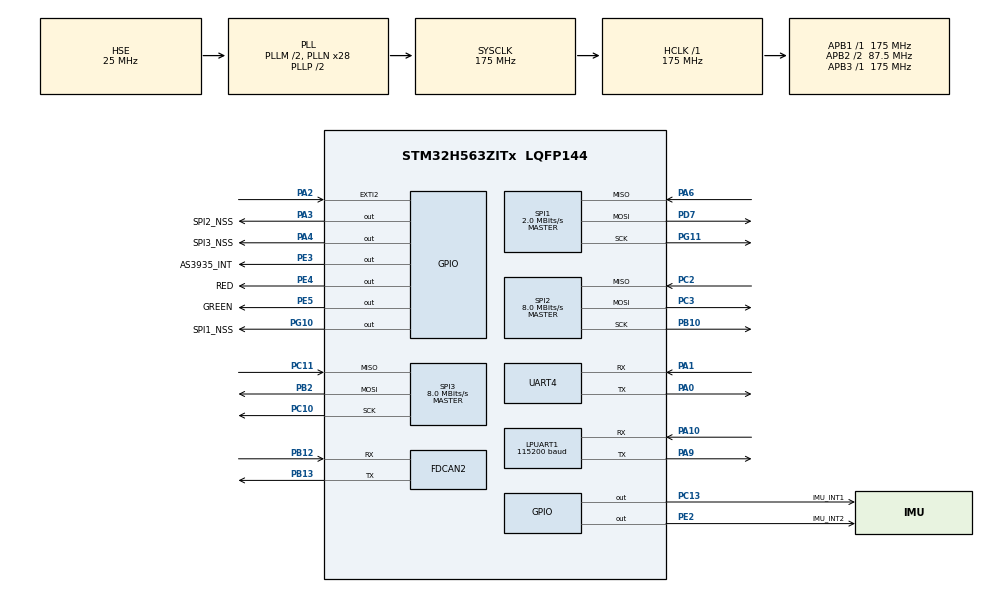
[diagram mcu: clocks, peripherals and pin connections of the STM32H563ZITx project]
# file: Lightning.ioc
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BOOTPATH.BootPathName=LEGACY
BOOTPATH.UserSelectedBootPath=LEGACY
CORTEX_M33_NS.userName=CORTEX_M33
FDCAN2.CalculateBaudRateNominal=500000
FDCAN2.CalculateTimeBitNominal=2000
FDCAN2.CalculateTimeQuantumNominal=125.0
FDCAN2.ExtFiltersNbr=2
FDCAN2.NominalPrescaler=8
FDCAN2.NominalTimeSeg1=11
FDCAN2.NominalTimeSeg2=4
FDCAN2.StdFiltersNbr=4
IWDG.Prescaler=IWDG_PRESCALER_32
LPUART1.BaudRate=115200
LPUART1.DataInvertParam=UART_ADVFEATURE_DATAINV_DISABLE
LPUART1.SwapParam=UART_ADVFEATURE_SWAP_ENABLE
Mcu.Family=STM32H5
Mcu.Name=STM32H563ZITx
Mcu.Package=LQFP144
NETXDUO.NX_APP_MEM_POOL_SIZE=10240
NVIC.FDCAN2_IT0_IRQn=true\:0\:0\:false\:false\:true\:false\:true\:true\:true
NVIC.FDCAN2_IT1_IRQn=true\:0\:0\:false\:false\:true\:false\:true\:true\:true
NVIC.PriorityGroup=NVIC_PRIORITYGROUP_4
NVIC.TIM2_IRQn=true\:15\:0\:false\:false\:true\:false\:false\:true\:true
NVIC.TimeBase=TIM2_IRQn
NVIC.TimeBaseIP=TIM2
PA0.Mode=Asynchronous
PA0.Signal=UART4_TX
PA1.Mode=Asynchronous
PA1.Signal=UART4_RX
PA10.Mode=Asynchronous
PA10.Signal=LPUART1_RX
PA13(JTMS/SWDIO).Mode=JTAG_4_pins
PA13(JTMS/SWDIO).Signal=DEBUG_JTMS-SWDIO
PA14(JTCK/SWCLK).Mode=JTAG_4_pins
PA14(JTCK/SWCLK).Signal=DEBUG_JTCK-SWCLK
PA15(JTDI).Mode=JTAG_4_pins
PA15(JTDI).Signal=DEBUG_JTDI
PA2.Signal=GPXTI2
PA3.GPIO_Label=SPI2_NSS
PA3.Signal=GPIO_Output
PA4.GPIO_Label=SPI3_NSS
PA4.Signal=GPIO_Output
PA6.Mode=Full_Duplex_Master
PA6.Signal=SPI1_MISO
PA9.Mode=Asynchronous
PA9.Signal=LPUART1_TX
PB10.Mode=Full_Duplex_Master
PB10.Signal=SPI2_SCK
PB12.Mode=FDCAN_Activate
PB12.Signal=FDCAN2_RX
PB13.Mode=FDCAN_Activate
PB13.Signal=FDCAN2_TX
PB2.Mode=Full_Duplex_Master
PB2.Signal=SPI3_MOSI
PB3(JTDO/TRACESWO).Mode=JTAG_4_pins
PB3(JTDO/TRACESWO).Signal=DEBUG_JTDO-SWO
PC10.Mode=Full_Duplex_Master
PC10.Signal=SPI3_SCK
PC11.Mode=Full_Duplex_Master
PC11.Signal=SPI3_MISO
PC13.GPIO_Label=IMU_INT1
PC13.Signal=GPIO_Output
PC2.Mode=Full_Duplex_Master
PC2.Signal=SPI2_MISO
PC3.Mode=Full_Duplex_Master
PC3.Signal=SPI2_MOSI
PD7.Mode=Full_Duplex_Master
PD7.Signal=SPI1_MOSI
PE2.GPIO_Label=IMU_INT2
PE2.Signal=GPIO_Output
PE3.GPIO_Label=AS3935_INT
PE3.Signal=GPIO_Output
PE4.GPIO_Label=RED
PE4.Signal=GPIO_Output
PE5.GPIO_Label=GREEN
PE5.Signal=GPIO_Output
PG10.GPIO_Label=SPI1_NSS
PG10.Signal=GPIO_Output
PG10.Stacked=true
PG11.Mode=Full_Duplex_Master
PG11.Signal=SPI1_SCK
PH0-OSC_IN(PH0).Mode=HSE-External-Oscillator
PH0-OSC_IN(PH0).Signal=RCC_OSC_IN
PH1-OSC_OUT(PH1).Mode=HSE-External-Oscillator
PH1-OSC_OUT(PH1).Signal=RCC_OSC_OUT
ProjectManager.HeapSize=0x200
ProjectManager.StackSize=0x400
ProjectManager.TargetToolchain=CMake
RCC.ADCFreq_Value=175000000
RCC.AHBFreq_Value=175000000
RCC.APB1Freq_Value=175000000
RCC.APB1TimFreq_Value=175000000
RCC.APB2CLKDivider=RCC_HCLK_DIV2
RCC.APB2Freq_Value=87500000
RCC.APB2TimFreq_Value=175000000
RCC.APB3Freq_Value=175000000
RCC.CSI_VALUE=4000000
RCC.CortexFreq_Value=175000000
RCC.EPOD_VALUE=25000000
RCC.FDCANClockSelection=RCC_FDCANCLKSOURCE_PLL2Q
RCC.HCLKFreq_Value=175000000
RCC.HSE_VALUE=25000000
RCC.HSI48_VALUE=48000000
RCC.HSI_VALUE=64000000
RCC.LSE_VALUE=32768
RCC.LSIRC_VALUE=32000
RCC.PLL2FRACN=0
RCC.PLL2M=5
RCC.PLL2N=64
RCC.PLL2P=5
RCC.PLL2Q=5
RCC.PLL2Source=RCC_PLL2_SOURCE_HSE
RCC.PLL3FRACN=0
RCC.PLLFRACN=0
RCC.PLLM=2
RCC.PLLN=28
RCC.PLLSourceVirtual=RCC_PLL1_SOURCE_HSE
RCC.SPI1CLockSelection=RCC_SPI1CLKSOURCE_PLL2P
RCC.SPI2CLockSelection=RCC_SPI2CLKSOURCE_PLL2P
RCC.SPI3CLockSelection=RCC_SPI3CLKSOURCE_PLL2P
RCC.SYSCLKFreq_VALUE=175000000
RCC.SYSCLKSource=RCC_SYSCLKSOURCE_PLLCLK
RCC.USBFreq_Value=48000000
RCC.VCOOutputFreq_Value=350000000
SPI1.BaudRatePrescaler=SPI_BAUDRATEPRESCALER_32
SPI1.CalculateBaudRate=2.0 MBits/s
SPI1.DataSize=SPI_DATASIZE_8BIT
SPI1.Direction=SPI_DIRECTION_2LINES
SPI1.MasterKeepIOState=SPI_MASTER_KEEP_IO_STATE_ENABLE
SPI1.Mode=SPI_MODE_MASTER
SPI1.NSSPMode=SPI_NSS_PULSE_DISABLE
SPI1.VirtualType=VM_MASTER
SPI2.BaudRatePrescaler=SPI_BAUDRATEPRESCALER_8
SPI2.CalculateBaudRate=8.0 MBits/s
SPI2.DataSize=SPI_DATASIZE_8BIT
SPI2.Direction=SPI_DIRECTION_2LINES
SPI2.MasterKeepIOState=SPI_MASTER_KEEP_IO_STATE_ENABLE
SPI2.Mode=SPI_MODE_MASTER
SPI2.NSSPMode=SPI_NSS_PULSE_DISABLE
SPI2.VirtualType=VM_MASTER
SPI3.BaudRatePrescaler=SPI_BAUDRATEPRESCALER_8
SPI3.CalculateBaudRate=8.0 MBits/s
SPI3.DataSize=SPI_DATASIZE_8BIT
SPI3.Direction=SPI_DIRECTION_2LINES
SPI3.MasterKeepIOState=SPI_MASTER_KEEP_IO_STATE_ENABLE
SPI3.Mode=SPI_MODE_MASTER
SPI3.NSSPMode=SPI_NSS_PULSE_DISABLE
SPI3.VirtualType=VM_MASTER
THREADX.TX_APP_MEM_POOL_SIZE=60040
THREADX.TX_TIMER_TICKS_PER_SECOND=1000
VP_BOOTPATH_VS_BOOTPATH.Mode=BP_Activate
VP_CORTEX_M33_NS_VS_Hclk.Mode=Hclk_Mode
VP_DCACHE1_VS_DCACHE.Mode=DCACHE_Activate
VP_ICACHE_VS_ICACHE.Mode=DirectMappedCache
VP_IWDG_VS_IWDG.Mode=IWDG_Activate
VP_MEMORYMAP_VS_MEMORYMAP.Mode=CurAppReg
VP_NETXDUO_VS_NXOoCore.Mode=NX_Core
VP_PWR_VS_LPOM.Mode=PowerOptimisation
VP_PWR_VS_SECSignals.Mode=Security/Privilege
VP_SYS_VS_tim2.Mode=TIM2
VP_THREADX_VS_RTOSJjThreadXJjCoreJjDefault.Mode=Core_Default
board=custom

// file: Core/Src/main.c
/* USER CODE BEGIN Header */
/**
  ******************************************************************************
  * @file           : main.c
  * @brief          : Main program body
  ******************************************************************************
  * @attention
  *
  * Copyright (c) 2025 STMicroelectronics.
  * All rights reserved.
  *
  * This software is licensed under terms that can be found in the LICENSE file
  * in the root directory of this software component.
  * If no LICENSE file comes with this software, it is provided AS-IS.
  *
  ******************************************************************************
  */
/* USER CODE END Header */
#include "app_threadx.h"
#include "main.h"

/* USER CODE BEGIN Includes */
#include <stdio.h>
#include <string.h>
#include <stdint.h>

#include "fdcan.h"
#include "u_inbox.h"
#include "u_can.h"
#include "u_queues.h"
#include "u_sensors.h"

/* USER CODE END Includes */

DCACHE_HandleTypeDef hdcache1;

FDCAN_HandleTypeDef hfdcan2;

IWDG_HandleTypeDef hiwdg;

UART_HandleTypeDef hlpuart1;
UART_HandleTypeDef huart4;

SPI_HandleTypeDef hspi1;
SPI_HandleTypeDef hspi2;
SPI_HandleTypeDef hspi3;

void SystemClock_Config(void);
void PeriphCommonClock_Config(void);
static void MX_GPIO_Init(void);
static void MX_LPUART1_UART_Init(void);
static void MX_SPI1_Init(void);
static void MX_SPI2_Init(void);
static void MX_SPI3_Init(void);
static void MX_ICACHE_Init(void);
static void MX_FDCAN2_Init(void);
static void MX_UART4_Init(void);
static void MX_DCACHE1_Init(void);
static void MX_IWDG_Init(void);

/* USER CODE BEGIN 0 */

/* Make printf() use LPUART1 */
int _write(int file, char *ptr, int len)
{
    HAL_UART_Transmit(&hlpuart1, (uint8_t*)ptr, len, HAL_MAX_DELAY);
    return len;
}

/* FDCAN FIFO0 Interrupt Callback */
/* Callback for any FIFO0 interrupt stuff */
void HAL_FDCAN_RxFifo0Callback(FDCAN_HandleTypeDef *hfdcan, uint32_t RxFifo0ITs)
{
  PRINTLN_INFO("HAL_FDCAN callback triggered");

	/* If a message has just been recieved... */
	if (RxFifo0ITs & FDCAN_IT_RX_FIFO0_NEW_MESSAGE)
	{
		can_msg_t message;
		FDCAN_RxHeaderTypeDef rx_header;

    /* Get the message. */
    HAL_StatusTypeDef status = HAL_FDCAN_GetRxMessage(hfdcan, FDCAN_RX_FIFO0, &rx_header, message.data);
    if(status != HAL_OK) {
      PRINTLN_ERROR("Failed to call HAL_FDCAN_GetRxMessage() (Status: %d/%s).", status, hal_status_toString(status));
      return;
    }

    /* Pack the message into the struct. */
    message.id = rx_header.Identifier;
		message.id_is_extended = (rx_header.IdType == FDCAN_EXTENDED_ID);
	  message.len = (uint8_t)rx_header.DataLength;

		/* Check message size */
		if (rx_header.DataLength > 8)
		{
			PRINTLN_ERROR("Recieved CAN message is larger than 8 bytes (rx_header.DataLength: %ld, id: 0x%lX).", rx_header.DataLength, rx_header.Identifier);
			return;
		}

		/* Send message to incoming CAN queue */
    queue_send(&can_incoming, &message, TX_NO_WAIT);
	}
}

/* BusOff Error Handling. */
void HAL_FDCAN_ErrorStatusCallback(FDCAN_HandleTypeDef *hfdcan, uint32_t ErrorStatusITs)
{
    FDCAN_ProtocolStatusTypeDef protocol_status;
    HAL_FDCAN_GetProtocolStatus(hfdcan, &protocol_status);

    if (protocol_status.BusOff != 0)  // If Bus-Off error occurred
    {
        CLEAR_BIT(hfdcan->Instance->CCCR, FDCAN_CCCR_INIT);  // Clear INIT bit to recover from Bus-Off
    }
}

/* USER CODE END 0 */

int main(void)
{

  /* MCU Configuration--------------------------------------------------------*/

  /* Reset of all peripherals, Initializes the Flash interface and the Systick. */
  HAL_Init();

  /* Configure the system clock */
  SystemClock_Config();

  /* Configure the peripherals common clocks */
  PeriphCommonClock_Config();

  /* Initialize all configured peripherals */
  MX_GPIO_Init();
  MX_LPUART1_UART_Init();
  MX_SPI1_Init();
  MX_SPI2_Init();
  MX_SPI3_Init();
  MX_ICACHE_Init();
  MX_FDCAN2_Init();
  MX_UART4_Init();
  MX_DCACHE1_Init();
  MX_IWDG_Init();
  /* USER CODE BEGIN 2 */

  /* Init Functions */
  if (can2_init(&hfdcan2) != U_SUCCESS) {
    PRINTLN_ERROR("Initialize CAN Failed.");
    Error_Handler();
  }

  /* USER CODE END 2 */

  MX_ThreadX_Init();

  /* We should never get here as control is now taken by the scheduler */

  /* Infinite loop */
  while (1)
  {

  }
}

void SystemClock_Config(void)
{
  RCC_OscInitTypeDef RCC_OscInitStruct = {0};
  RCC_ClkInitTypeDef RCC_ClkInitStruct = {0};

  /** Configure the main internal regulator output voltage
  */
  __HAL_PWR_VOLTAGESCALING_CONFIG(PWR_REGULATOR_VOLTAGE_SCALE1);

  while(!__HAL_PWR_GET_FLAG(PWR_FLAG_VOSRDY)) {}

  /** Initializes the RCC Oscillators according to the specified parameters
  * in the RCC_OscInitTypeDef structure.
  */
  RCC_OscInitStruct.OscillatorType = RCC_OSCILLATORTYPE_LSI|RCC_OSCILLATORTYPE_HSE;
  RCC_OscInitStruct.HSEState = RCC_HSE_ON;
  RCC_OscInitStruct.LSIState = RCC_LSI_ON;
  RCC_OscInitStruct.PLL.PLLState = RCC_PLL_ON;
  RCC_OscInitStruct.PLL.PLLSource = RCC_PLL1_SOURCE_HSE;
  RCC_OscInitStruct.PLL.PLLM = 2;
  RCC_OscInitStruct.PLL.PLLN = 28;
  RCC_OscInitStruct.PLL.PLLP = 2;
  RCC_OscInitStruct.PLL.PLLQ = 2;
  RCC_OscInitStruct.PLL.PLLR = 2;
  RCC_OscInitStruct.PLL.PLLRGE = RCC_PLL1_VCIRANGE_3;
  RCC_OscInitStruct.PLL.PLLVCOSEL = RCC_PLL1_VCORANGE_WIDE;
  RCC_OscInitStruct.PLL.PLLFRACN = 0;
  if (HAL_RCC_OscConfig(&RCC_OscInitStruct) != HAL_OK)
  {
    Error_Handler();
  }

  /** Initializes the CPU, AHB and APB buses clocks
  */
  RCC_ClkInitStruct.ClockType = RCC_CLOCKTYPE_HCLK|RCC_CLOCKTYPE_SYSCLK
                              |RCC_CLOCKTYPE_PCLK1|RCC_CLOCKTYPE_PCLK2
                              |RCC_CLOCKTYPE_PCLK3;
  RCC_ClkInitStruct.SYSCLKSource = RCC_SYSCLKSOURCE_PLLCLK;
  RCC_ClkInitStruct.AHBCLKDivider = RCC_SYSCLK_DIV1;
  RCC_ClkInitStruct.APB1CLKDivider = RCC_HCLK_DIV1;
  RCC_ClkInitStruct.APB2CLKDivider = RCC_HCLK_DIV2;
  RCC_ClkInitStruct.APB3CLKDivider = RCC_HCLK_DIV1;

  if (HAL_RCC_ClockConfig(&RCC_ClkInitStruct, FLASH_LATENCY_5) != HAL_OK)
  {
    Error_Handler();
  }

  /** Configure the programming delay
  */
  __HAL_FLASH_SET_PROGRAM_DELAY(FLASH_PROGRAMMING_DELAY_2);
}

void PeriphCommonClock_Config(void)
{
  RCC_PeriphCLKInitTypeDef PeriphClkInitStruct = {0};

  /** Initializes the peripherals clock
  */
  PeriphClkInitStruct.PeriphClockSelection = RCC_PERIPHCLK_FDCAN|RCC_PERIPHCLK_SPI1
                              |RCC_PERIPHCLK_SPI2|RCC_PERIPHCLK_SPI3;
  PeriphClkInitStruct.PLL2.PLL2Source = RCC_PLL2_SOURCE_HSE;
  PeriphClkInitStruct.PLL2.PLL2M = 5;
  PeriphClkInitStruct.PLL2.PLL2N = 64;
  PeriphClkInitStruct.PLL2.PLL2P = 5;
  PeriphClkInitStruct.PLL2.PLL2Q = 5;
  PeriphClkInitStruct.PLL2.PLL2R = 2;
  PeriphClkInitStruct.PLL2.PLL2RGE = RCC_PLL2_VCIRANGE_2;
  PeriphClkInitStruct.PLL2.PLL2VCOSEL = RCC_PLL2_VCORANGE_WIDE;
  PeriphClkInitStruct.PLL2.PLL2FRACN = 0;
  PeriphClkInitStruct.PLL2.PLL2ClockOut = RCC_PLL2_DIVP|RCC_PLL2_DIVQ;
  PeriphClkInitStruct.FdcanClockSelection = RCC_FDCANCLKSOURCE_PLL2Q;
  PeriphClkInitStruct.Spi1ClockSelection = RCC_SPI1CLKSOURCE_PLL2P;
  PeriphClkInitStruct.Spi2ClockSelection = RCC_SPI2CLKSOURCE_PLL2P;
  PeriphClkInitStruct.Spi3ClockSelection = RCC_SPI3CLKSOURCE_PLL2P;
  if (HAL_RCCEx_PeriphCLKConfig(&PeriphClkInitStruct) != HAL_OK)
  {
    Error_Handler();
  }
}

static void MX_DCACHE1_Init(void)
{

  hdcache1.Instance = DCACHE1;
  hdcache1.Init.ReadBurstType = DCACHE_READ_BURST_WRAP;
  if (HAL_DCACHE_Init(&hdcache1) != HAL_OK)
  {
    Error_Handler();
  }

}

static void MX_FDCAN2_Init(void)
{

  hfdcan2.Instance = FDCAN2;
  hfdcan2.Init.ClockDivider = FDCAN_CLOCK_DIV1;
  hfdcan2.Init.FrameFormat = FDCAN_FRAME_CLASSIC;
  hfdcan2.Init.Mode = FDCAN_MODE_NORMAL;
  hfdcan2.Init.AutoRetransmission = DISABLE;
  hfdcan2.Init.TransmitPause = DISABLE;
  hfdcan2.Init.ProtocolException = DISABLE;
  hfdcan2.Init.NominalPrescaler = 8;
  hfdcan2.Init.NominalSyncJumpWidth = 1;
  hfdcan2.Init.NominalTimeSeg1 = 11;
  hfdcan2.Init.NominalTimeSeg2 = 4;
  hfdcan2.Init.DataPrescaler = 1;
  hfdcan2.Init.DataSyncJumpWidth = 1;
  hfdcan2.Init.DataTimeSeg1 = 1;
  hfdcan2.Init.DataTimeSeg2 = 1;
  hfdcan2.Init.StdFiltersNbr = 4;
  hfdcan2.Init.ExtFiltersNbr = 2;
  hfdcan2.Init.TxFifoQueueMode = FDCAN_TX_FIFO_OPERATION;
  if (HAL_FDCAN_Init(&hfdcan2) != HAL_OK)
  {
    Error_Handler();
  }

}

static void MX_ICACHE_Init(void)
{

  /** Enable instruction cache in 1-way (direct mapped cache)
  */
  if (HAL_ICACHE_ConfigAssociativityMode(ICACHE_1WAY) != HAL_OK)
  {
    Error_Handler();
  }
  if (HAL_ICACHE_Enable() != HAL_OK)
  {
    Error_Handler();
  }

}

static void MX_IWDG_Init(void)
{

  hiwdg.Instance = IWDG;
  hiwdg.Init.Prescaler = IWDG_PRESCALER_32;
  hiwdg.Init.Window = 4095;
  hiwdg.Init.Reload = 4095;
  hiwdg.Init.EWI = 0;
  if (HAL_IWDG_Init(&hiwdg) != HAL_OK)
  {
    Error_Handler();
  }

}

static void MX_LPUART1_UART_Init(void)
{

  hlpuart1.Instance = LPUART1;
  hlpuart1.Init.BaudRate = 115200;
  hlpuart1.Init.WordLength = UART_WORDLENGTH_8B;
  hlpuart1.Init.StopBits = UART_STOPBITS_1;
  hlpuart1.Init.Parity = UART_PARITY_NONE;
  hlpuart1.Init.Mode = UART_MODE_TX_RX;
  hlpuart1.Init.HwFlowCtl = UART_HWCONTROL_NONE;
  hlpuart1.Init.OneBitSampling = UART_ONE_BIT_SAMPLE_DISABLE;
  hlpuart1.AdvancedInit.AdvFeatureInit = UART_ADVFEATURE_SWAP_INIT;
  hlpuart1.AdvancedInit.Swap = UART_ADVFEATURE_SWAP_ENABLE;
  hlpuart1.FifoMode = UART_FIFOMODE_DISABLE;
  if (HAL_UART_Init(&hlpuart1) != HAL_OK)
  {
    Error_Handler();
  }
  if (HAL_UARTEx_SetTxFifoThreshold(&hlpuart1, UART_TXFIFO_THRESHOLD_1_8) != HAL_OK)
  {
    Error_Handler();
  }
  if (HAL_UARTEx_SetRxFifoThreshold(&hlpuart1, UART_RXFIFO_THRESHOLD_1_8) != HAL_OK)
  {
    Error_Handler();
  }
  if (HAL_UARTEx_DisableFifoMode(&hlpuart1) != HAL_OK)
  {
    Error_Handler();
  }

}

static void MX_UART4_Init(void)
{

  huart4.Instance = UART4;
  huart4.Init.BaudRate = 115200;
  huart4.Init.WordLength = UART_WORDLENGTH_8B;
  huart4.Init.StopBits = UART_STOPBITS_1;
  huart4.Init.Parity = UART_PARITY_NONE;
  huart4.Init.Mode = UART_MODE_TX_RX;
  huart4.Init.HwFlowCtl = UART_HWCONTROL_NONE;
  huart4.Init.OverSampling = UART_OVERSAMPLING_16;
  huart4.Init.OneBitSampling = UART_ONE_BIT_SAMPLE_DISABLE;
  huart4.Init.ClockPrescaler = UART_PRESCALER_DIV1;
  huart4.AdvancedInit.AdvFeatureInit = UART_ADVFEATURE_NO_INIT;
  if (HAL_UART_Init(&huart4) != HAL_OK)
  {
    Error_Handler();
  }
  if (HAL_UARTEx_SetTxFifoThreshold(&huart4, UART_TXFIFO_THRESHOLD_1_8) != HAL_OK)
  {
    Error_Handler();
  }
  if (HAL_UARTEx_SetRxFifoThreshold(&huart4, UART_RXFIFO_THRESHOLD_1_8) != HAL_OK)
  {
    Error_Handler();
  }
  if (HAL_UARTEx_DisableFifoMode(&huart4) != HAL_OK)
  {
    Error_Handler();
  }

}

static void MX_SPI1_Init(void)
{

  /* SPI1 parameter configuration*/
  hspi1.Instance = SPI1;
  hspi1.Init.Mode = SPI_MODE_MASTER;
  hspi1.Init.Direction = SPI_DIRECTION_2LINES;
  hspi1.Init.DataSize = SPI_DATASIZE_8BIT;
  hspi1.Init.CLKPolarity = SPI_POLARITY_LOW;
  hspi1.Init.CLKPhase = SPI_PHASE_1EDGE;
  hspi1.Init.NSS = SPI_NSS_SOFT;
  hspi1.Init.BaudRatePrescaler = SPI_BAUDRATEPRESCALER_32;
  hspi1.Init.FirstBit = SPI_FIRSTBIT_MSB;
  hspi1.Init.TIMode = SPI_TIMODE_DISABLE;
  hspi1.Init.CRCCalculation = SPI_CRCCALCULATION_DISABLE;
  hspi1.Init.CRCPolynomial = 0x7;
  hspi1.Init.NSSPMode = SPI_NSS_PULSE_DISABLE;
  hspi1.Init.NSSPolarity = SPI_NSS_POLARITY_LOW;
  hspi1.Init.FifoThreshold = SPI_FIFO_THRESHOLD_01DATA;
  hspi1.Init.MasterSSIdleness = SPI_MASTER_SS_IDLENESS_00CYCLE;
  hspi1.Init.MasterInterDataIdleness = SPI_MASTER_INTERDATA_IDLENESS_00CYCLE;
  hspi1.Init.MasterReceiverAutoSusp = SPI_MASTER_RX_AUTOSUSP_DISABLE;
  hspi1.Init.MasterKeepIOState = SPI_MASTER_KEEP_IO_STATE_ENABLE;
  hspi1.Init.IOSwap = SPI_IO_SWAP_DISABLE;
  hspi1.Init.ReadyMasterManagement = SPI_RDY_MASTER_MANAGEMENT_INTERNALLY;
  hspi1.Init.ReadyPolarity = SPI_RDY_POLARITY_HIGH;
  if (HAL_SPI_Init(&hspi1) != HAL_OK)
  {
    Error_Handler();
  }

}

static void MX_SPI2_Init(void)
{

  /* SPI2 parameter configuration*/
  hspi2.Instance = SPI2;
  hspi2.Init.Mode = SPI_MODE_MASTER;
  hspi2.Init.Direction = SPI_DIRECTION_2LINES;
  hspi2.Init.DataSize = SPI_DATASIZE_8BIT;
  hspi2.Init.CLKPolarity = SPI_POLARITY_LOW;
  hspi2.Init.CLKPhase = SPI_PHASE_1EDGE;
  hspi2.Init.NSS = SPI_NSS_SOFT;
  hspi2.Init.BaudRatePrescaler = SPI_BAUDRATEPRESCALER_8;
  hspi2.Init.FirstBit = SPI_FIRSTBIT_MSB;
  hspi2.Init.TIMode = SPI_TIMODE_DISABLE;
  hspi2.Init.CRCCalculation = SPI_CRCCALCULATION_DISABLE;
  hspi2.Init.CRCPolynomial = 0x7;
  hspi2.Init.NSSPMode = SPI_NSS_PULSE_DISABLE;
  hspi2.Init.NSSPolarity = SPI_NSS_POLARITY_LOW;
  hspi2.Init.FifoThreshold = SPI_FIFO_THRESHOLD_01DATA;
  hspi2.Init.MasterSSIdleness = SPI_MASTER_SS_IDLENESS_00CYCLE;
  hspi2.Init.MasterInterDataIdleness = SPI_MASTER_INTERDATA_IDLENESS_00CYCLE;
  hspi2.Init.MasterReceiverAutoSusp = SPI_MASTER_RX_AUTOSUSP_DISABLE;
  hspi2.Init.MasterKeepIOState = SPI_MASTER_KEEP_IO_STATE_ENABLE;
  hspi2.Init.IOSwap = SPI_IO_SWAP_DISABLE;
  hspi2.Init.ReadyMasterManagement = SPI_RDY_MASTER_MANAGEMENT_INTERNALLY;
  hspi2.Init.ReadyPolarity = SPI_RDY_POLARITY_HIGH;
  if (HAL_SPI_Init(&hspi2) != HAL_OK)
  {
    Error_Handler();
  }

}

static void MX_SPI3_Init(void)
{

  /* SPI3 parameter configuration*/
  hspi3.Instance = SPI3;
  hspi3.Init.Mode = SPI_MODE_MASTER;
  hspi3.Init.Direction = SPI_DIRECTION_2LINES;
  hspi3.Init.DataSize = SPI_DATASIZE_8BIT;
  hspi3.Init.CLKPolarity = SPI_POLARITY_LOW;
  hspi3.Init.CLKPhase = SPI_PHASE_1EDGE;
  hspi3.Init.NSS = SPI_NSS_SOFT;
  hspi3.Init.BaudRatePrescaler = SPI_BAUDRATEPRESCALER_8;
  hspi3.Init.FirstBit = SPI_FIRSTBIT_MSB;
  hspi3.Init.TIMode = SPI_TIMODE_DISABLE;
  hspi3.Init.CRCCalculation = SPI_CRCCALCULATION_DISABLE;
  hspi3.Init.CRCPolynomial = 0x7;
  hspi3.Init.NSSPMode = SPI_NSS_PULSE_DISABLE;
  hspi3.Init.NSSPolarity = SPI_NSS_POLARITY_LOW;
  hspi3.Init.FifoThreshold = SPI_FIFO_THRESHOLD_01DATA;
  hspi3.Init.MasterSSIdleness = SPI_MASTER_SS_IDLENESS_00CYCLE;
  hspi3.Init.MasterInterDataIdleness = SPI_MASTER_INTERDATA_IDLENESS_00CYCLE;
  hspi3.Init.MasterReceiverAutoSusp = SPI_MASTER_RX_AUTOSUSP_DISABLE;
  hspi3.Init.MasterKeepIOState = SPI_MASTER_KEEP_IO_STATE_ENABLE;
  hspi3.Init.IOSwap = SPI_IO_SWAP_DISABLE;
  hspi3.Init.ReadyMasterManagement = SPI_RDY_MASTER_MANAGEMENT_INTERNALLY;
  hspi3.Init.ReadyPolarity = SPI_RDY_POLARITY_HIGH;
  if (HAL_SPI_Init(&hspi3) != HAL_OK)
  {
    Error_Handler();
  }

}

static void MX_GPIO_Init(void)
{
  GPIO_InitTypeDef GPIO_InitStruct = {0};

  /* GPIO Ports Clock Enable */
  __HAL_RCC_GPIOE_CLK_ENABLE();
  __HAL_RCC_GPIOC_CLK_ENABLE();
  __HAL_RCC_GPIOH_CLK_ENABLE();
  __HAL_RCC_GPIOA_CLK_ENABLE();
  __HAL_RCC_GPIOB_CLK_ENABLE();
  __HAL_RCC_GPIOD_CLK_ENABLE();
  __HAL_RCC_GPIOG_CLK_ENABLE();

  /*Configure GPIO pin Output Level */
  HAL_GPIO_WritePin(GPIOE, IMU_INT2_Pin|AS3935_INT_Pin|RED_Pin|GREEN_Pin, GPIO_PIN_RESET);

  /*Configure GPIO pin Output Level */
  HAL_GPIO_WritePin(IMU_INT1_GPIO_Port, IMU_INT1_Pin, GPIO_PIN_RESET);

  /*Configure GPIO pin Output Level */
  HAL_GPIO_WritePin(GPIOA, SPI2_NSS_Pin|SPI3_NSS_Pin, GPIO_PIN_RESET);

  /*Configure GPIO pin Output Level */
  HAL_GPIO_WritePin(SPI1_NSS_GPIO_Port, SPI1_NSS_Pin, GPIO_PIN_RESET);

  /*Configure GPIO pins : IMU_INT2_Pin AS3935_INT_Pin RED_Pin GREEN_Pin */
  GPIO_InitStruct.Pin = IMU_INT2_Pin|AS3935_INT_Pin|RED_Pin|GREEN_Pin;
  GPIO_InitStruct.Mode = GPIO_MODE_OUTPUT_PP;
  GPIO_InitStruct.Pull = GPIO_NOPULL;
  GPIO_InitStruct.Speed = GPIO_SPEED_FREQ_LOW;
  HAL_GPIO_Init(GPIOE, &GPIO_InitStruct);

  /*Configure GPIO pin : IMU_INT1_Pin */
  GPIO_InitStruct.Pin = IMU_INT1_Pin;
  GPIO_InitStruct.Mode = GPIO_MODE_OUTPUT_PP;
  GPIO_InitStruct.Pull = GPIO_NOPULL;
  GPIO_InitStruct.Speed = GPIO_SPEED_FREQ_LOW;
  HAL_GPIO_Init(IMU_INT1_GPIO_Port, &GPIO_InitStruct);

  /*Configure GPIO pin : PA2 */
  GPIO_InitStruct.Pin = GPIO_PIN_2;
  GPIO_InitStruct.Mode = GPIO_MODE_IT_RISING;
  GPIO_InitStruct.Pull = GPIO_NOPULL;
  HAL_GPIO_Init(GPIOA, &GPIO_InitStruct);

  /*Configure GPIO pins : SPI2_NSS_Pin SPI3_NSS_Pin */
  GPIO_InitStruct.Pin = SPI2_NSS_Pin|SPI3_NSS_Pin;
  GPIO_InitStruct.Mode = GPIO_MODE_OUTPUT_PP;
  GPIO_InitStruct.Pull = GPIO_NOPULL;
  GPIO_InitStruct.Speed = GPIO_SPEED_FREQ_LOW;
  HAL_GPIO_Init(GPIOA, &GPIO_InitStruct);

  /*Configure GPIO pin : SPI1_NSS_Pin */
  GPIO_InitStruct.Pin = SPI1_NSS_Pin;
  GPIO_InitStruct.Mode = GPIO_MODE_OUTPUT_PP;
  GPIO_InitStruct.Pull = GPIO_NOPULL;
  GPIO_InitStruct.Speed = GPIO_SPEED_FREQ_LOW;
  HAL_GPIO_Init(SPI1_NSS_GPIO_Port, &GPIO_InitStruct);

}

void HAL_TIM_PeriodElapsedCallback(TIM_HandleTypeDef *htim)
{
  if (htim->Instance == TIM2)
  {
    HAL_IncTick();
  }
}

void Error_Handler(void)
{
  __disable_irq();
  while (1)
  {
  }
}
